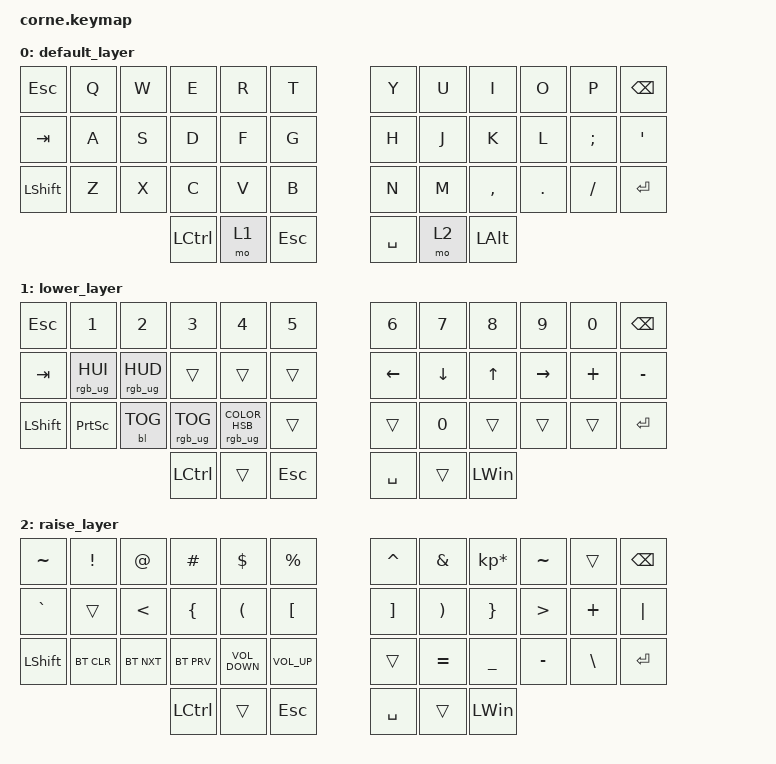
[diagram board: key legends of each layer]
/*
 * Copyright (c) 2020 The ZMK Contributors
 *
 * SPDX-License-Identifier: MIT
 */

#include <behaviors.dtsi>
#include <dt-bindings/zmk/keys.h>
#include <dt-bindings/zmk/rgb.h>
#include <dt-bindings/zmk/backlight.h>
#include <dt-bindings/zmk/bt.h>

/ {
    combos {
        compatible = "zmk,combos";

        new_combo {
            bindings = <&trans>;
            key-positions = <0>;
        };
    };

    keymap {
        compatible = "zmk,keymap";

        default_layer {
            // -----------------------------------------------------------------------------------------
            // |  TAB |  Q  |  W  |  E  |  R  |  T  |   |  Y  |  U   |  I  |  O  |  P  | BKSP |
            // | CTRL |  A  |  S  |  D  |  F  |  G  |   |  H  |  J   |  K  |  L  |  ;  |  '   |
            // | SHFT |  Z  |  X  |  C  |  V  |  B  |   |  N  |  M   |  ,  |  .  |  /  | ESC  |
            //                    | GUI | LWR | SPC |   | ENT | RSE  | ALT |

            bindings = <
   &kp ESC   &kp Q   &kp W      &kp E   &kp R       &kp T      &kp Y   &kp U         &kp I    &kp O     &kp P   &kp BSPC
   &kp TAB   &kp A   &kp S      &kp D   &kp F       &kp G      &kp H   &kp J         &kp K    &kp L  &kp SEMI    &kp SQT
 &kp LSHFT   &kp Z   &kp X      &kp C   &kp V       &kp B      &kp N   &kp M     &kp COMMA  &kp DOT  &kp FSLH  &kp ENTER
                            &kp LCTRL   &mo 1  &kp ESCAPE  &kp SPACE   &mo 2  &kp LEFT_ALT
            >;
        };

        lower_layer {
            // -----------------------------------------------------------------------------------------
            // |  TAB |  1  |  2  |  3  |  4  |  5  |   |  6  |  7  |  8  |  9  |  0  | BKSP |
            // | BTCLR| BT1 | BT2 | BT3 | BT4 | BT5 |   | LFT | DWN |  UP | RGT |     |      |
            // | SHFT |     |     |     |     |     |   |     |     |     |     |     |      |
            //                    | GUI |     | SPC |   | ENT |     | ALT |

            bindings = <
 &kp ESCAPE           &kp N1           &kp N2           &kp N3                            &kp N4   &kp N5          &kp N6          &kp N7        &kp N8     &kp N9    &kp N0   &kp BSPC
    &kp TAB  &rgb_ug RGB_HUI  &rgb_ug RGB_HUD           &trans                            &trans   &trans  &kp LEFT_ARROW  &kp DOWN_ARROW  &kp UP_ARROW  &kp RIGHT  &kp PLUS  &kp MINUS
  &kp LSHFT  &kp PRINTSCREEN       &bl BL_TOG  &rgb_ug RGB_TOG  &rgb_ug RGB_COLOR_HSB(201,83,46)   &trans          &trans    &kp NUMBER_0        &trans     &trans    &trans  &kp ENTER
                                                     &kp LCTRL                            &trans  &kp ESC       &kp SPACE          &trans  &kp LEFT_WIN
            >;
        };

        raise_layer {
            // -----------------------------------------------------------------------------------------
            // |  TAB |  !  |  @  |  #  |  $  |  %  |   |  ^  |  &  |  *  |  (  |  )  | BKSP |
            // | CTRL |     |     |     |     |     |   |  -  |  =  |  [  |  ]  |  \  |  `   |
            // | SHFT |     |     |     |     |     |   |  _  |  +  |  {  |  }  | "|" |  ~   |
            //                    | GUI |     | SPC |   | ENT |     | ALT |

            bindings = <
 &kp TILDE    &kp EXCL         &kp AT        &kp HASH              &kp DLLR         &kp PRCNT          &kp CARET               &kp AMPS  &kp KP_MULTIPLY         &kp TILDE         &trans   &kp BSPC
 &kp GRAVE      &trans  &kp LESS_THAN  &kp LEFT_BRACE  &kp LEFT_PARENTHESIS  &kp LEFT_BRACKET  &kp RIGHT_BRACKET  &kp RIGHT_PARENTHESIS  &kp RIGHT_BRACE  &kp GREATER_THAN       &kp PLUS   &kp PIPE
 &kp LSHFT  &bt BT_CLR     &bt BT_NXT      &bt BT_PRV     &kp C_VOLUME_DOWN   &kp C_VOLUME_UP             &trans              &kp EQUAL   &kp UNDERSCORE         &kp MINUS  &kp BACKSLASH  &kp ENTER
                                            &kp LCTRL                &trans        &kp ESCAPE          &kp SPACE                 &trans     &kp LEFT_WIN
            >;
        };
    };
};
